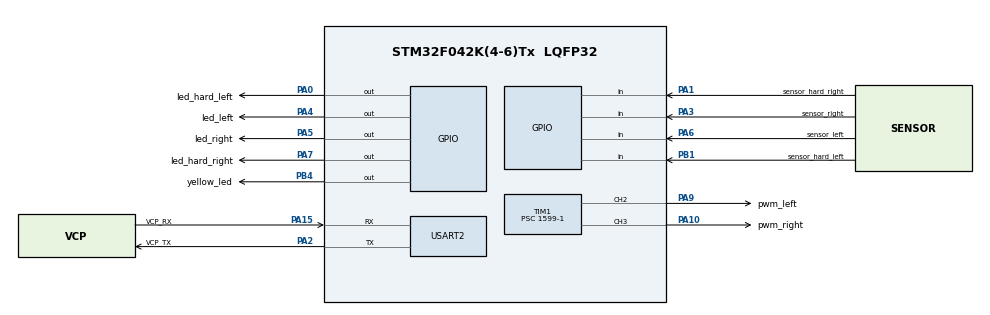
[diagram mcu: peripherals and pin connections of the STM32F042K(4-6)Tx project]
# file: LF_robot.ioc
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Mcu.Family=STM32F0
Mcu.Name=STM32F042K(4-6)Tx
Mcu.Package=LQFP32
PA0.GPIO_Label=led_hard_left
PA0.Signal=GPIO_Output
PA1.GPIO_Label=sensor_hard_right
PA1.GPIO_PuPd=GPIO_PULLUP
PA1.Signal=GPIO_Input
PA10.GPIO_Label=pwm_right
PA10.Signal=S_TIM1_CH3
PA13.GPIO_Label=SWDIO
PA13.Mode=Serial_Wire
PA13.Signal=SYS_SWDIO
PA14.GPIO_Label=SWCLK
PA14.Mode=Serial_Wire
PA14.Signal=SYS_SWCLK
PA15.GPIO_Label=VCP_RX
PA15.Mode=Asynchronous
PA15.Signal=USART2_RX
PA2.GPIO_Label=VCP_TX
PA2.Mode=Asynchronous
PA2.Signal=USART2_TX
PA3.GPIO_Label=sensor_right
PA3.GPIO_PuPd=GPIO_PULLUP
PA3.Signal=GPIO_Input
PA4.GPIO_Label=led_left
PA4.Signal=GPIO_Output
PA5.GPIO_Label=led_right
PA5.Signal=GPIO_Output
PA6.GPIO_Label=sensor_left
PA6.GPIO_PuPd=GPIO_PULLUP
PA6.Signal=GPIO_Input
PA7.GPIO_Label=led_hard_right
PA7.Signal=GPIO_Output
PA9.GPIO_Label=pwm_left
PA9.Signal=S_TIM1_CH2
PB1.GPIO_Label=sensor_hard_left
PB1.GPIO_PuPd=GPIO_PULLUP
PB1.Signal=GPIO_Input
PB4.GPIO_Label=yellow_led
PB4.Signal=GPIO_Output
PF0-OSC_IN.GPIO_Label=MCO
PF0-OSC_IN.Mode=HSE-External-Clock-Source
PF0-OSC_IN.Signal=RCC_OSC_IN
ProjectManager.HeapSize=0x200
ProjectManager.StackSize=0x400
ProjectManager.TargetToolchain=STM32CubeIDE
SH.S_TIM1_CH2.0=TIM1_CH2,PWM Generation2 CH2
SH.S_TIM1_CH3.0=TIM1_CH3,PWM Generation3 CH3
TIM1.AutoReloadPreload=TIM_AUTORELOAD_PRELOAD_ENABLE
TIM1.Channel-PWM\ Generation2\ CH2=TIM_CHANNEL_2
TIM1.Channel-PWM\ Generation3\ CH3=TIM_CHANNEL_3
TIM1.Period=99-1
TIM1.Prescaler=1599-1
USART2.VirtualMode-Asynchronous=VM_ASYNC
board=NUCLEO-F042K6

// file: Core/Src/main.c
/* USER CODE BEGIN Header */
/**
  ******************************************************************************
  * @file           : main.c
  * @brief          : Main program body
  ******************************************************************************
  * @attention
  *
  * Copyright (c) 2025 STMicroelectronics.
  * All rights reserved.
  *
  * This software is licensed under terms that can be found in the LICENSE file
  * in the root directory of this software component.
  * If no LICENSE file comes with this software, it is provided AS-IS.
  *
  ******************************************************************************
  */
/* USER CODE END Header */
#include "main.h"

/* USER CODE BEGIN PD */
# define left_ch TIM_CHANNEL_2
# define right_ch TIM_CHANNEL_3
/* USER CODE END PD */

TIM_HandleTypeDef htim1;

UART_HandleTypeDef huart2;

/* USER CODE BEGIN PV */
typedef enum
{
    straight   = 0,
    right      = 1,
    hard_right = 2,
    left       = 3,
    hard_left  = 4
} MotorState_t;

typedef struct
{
    uint8_t left_base;
    uint8_t right_base;

    uint8_t left_slow;
    uint8_t right_slow;

    uint8_t left_extra_slow;
    uint8_t right_extra_slow;

    uint8_t left_fast;
    uint8_t right_fast;

    uint8_t left_boost;
    uint8_t right_boost;
} MotorPwm_t;

/* USER CODE END PV */

void SystemClock_Config(void);
static void MX_GPIO_Init(void);
static void MX_USART2_UART_Init(void);
static void MX_TIM1_Init(void);

/* USER CODE BEGIN 0 */
static MotorState_t get_direction(void)
{
    /* all LEDs off */
    HAL_GPIO_WritePin(led_left_GPIO_Port,       led_left_Pin,       GPIO_PIN_RESET);
    HAL_GPIO_WritePin(led_right_GPIO_Port,      led_right_Pin,      GPIO_PIN_RESET);
    HAL_GPIO_WritePin(led_hard_left_GPIO_Port,  led_hard_left_Pin,  GPIO_PIN_RESET);
    HAL_GPIO_WritePin(led_hard_right_GPIO_Port, led_hard_right_Pin, GPIO_PIN_RESET);

    if (HAL_GPIO_ReadPin(sensor_right_GPIO_Port, sensor_right_Pin) == GPIO_PIN_SET)
    {
        //HAL_GPIO_WritePin(led_right_GPIO_Port, led_right_Pin, GPIO_PIN_SET);
        return left;
    }
    else if (HAL_GPIO_ReadPin(sensor_hard_right_GPIO_Port, sensor_hard_right_Pin) == GPIO_PIN_SET)
    {
    	//HAL_GPIO_WritePin(led_hard_right_GPIO_Port, led_hard_right_Pin, GPIO_PIN_SET);
        return hard_left;
    }
    else if (HAL_GPIO_ReadPin(sensor_left_GPIO_Port, sensor_left_Pin) == GPIO_PIN_SET)
    {
    	//HAL_GPIO_WritePin(led_left_GPIO_Port, led_left_Pin, GPIO_PIN_SET);
        return right;
    }
    else if (HAL_GPIO_ReadPin(sensor_hard_left_GPIO_Port, sensor_hard_left_Pin) == GPIO_PIN_SET)
    {
    	//HAL_GPIO_WritePin(led_hard_left_GPIO_Port, led_hard_left_Pin, GPIO_PIN_SET);
        return hard_right;
    }
    else
    {
        /* straight: all LEDs stay off */
        return straight;
    }
}

static void apply_motor_pwm(MotorState_t state, const MotorPwm_t *pwm)
{
    switch (state)
    {
        case straight:
            __HAL_TIM_SET_COMPARE(&htim1, left_ch,  pwm->left_base);
            __HAL_TIM_SET_COMPARE(&htim1, right_ch, pwm->right_base);
            break;

        case left:
            __HAL_TIM_SET_COMPARE(&htim1, left_ch,  pwm->left_slow);
            __HAL_TIM_SET_COMPARE(&htim1, right_ch, pwm->right_fast);
            break;

        case right:
            __HAL_TIM_SET_COMPARE(&htim1, left_ch,  pwm->left_fast);
            __HAL_TIM_SET_COMPARE(&htim1, right_ch, pwm->right_slow);
            break;

        case hard_left:
            __HAL_TIM_SET_COMPARE(&htim1, left_ch,  pwm->left_extra_slow);
            __HAL_TIM_SET_COMPARE(&htim1, right_ch, pwm->right_boost);
            break;

        case hard_right:
            __HAL_TIM_SET_COMPARE(&htim1, left_ch,  pwm->left_boost);
            __HAL_TIM_SET_COMPARE(&htim1, right_ch, pwm->right_extra_slow);
            break;

        default:
            break;
    }
}

// 5 volt settings
//MotorPwm_t pwm = {
//	  .left_base = 			55,
//	  .right_base = 		42,
//	  .left_slow = 			45, // -10
//	  .right_slow = 		32, // -10
//	  .left_extra_slow = 	20, // -35
//	  .right_extra_slow = 	7, // -35
//	  .left_fast = 			65, // +10
//	  .right_fast = 		52, // +10
//	  .left_boost = 		90, // base +35
//	  .right_boost = 		77 // base + 35
//};

/* USER CODE END 0 */

int main(void)
{

  /* MCU Configuration--------------------------------------------------------*/

  /* Reset of all peripherals, Initializes the Flash interface and the Systick. */
  HAL_Init();

  /* Configure the system clock */
  SystemClock_Config();

  /* Initialize all configured peripherals */
  MX_GPIO_Init();
  MX_USART2_UART_Init();
  MX_TIM1_Init();
  /* USER CODE BEGIN 2 */
  HAL_TIM_PWM_Start(&htim1, left_ch);
  HAL_TIM_PWM_Start(&htim1, right_ch);

  MotorPwm_t pwm = {
	  .left_base = 			55,
	  .right_base = 		42,
	  .left_slow = 			45, // -10
	  .right_slow = 		32, // -10
	  .left_extra_slow = 	20, // -25
	  .right_extra_slow = 	7, // -25
	  .left_fast = 			65, // +10
	  .right_fast = 		52, // +10
	  .left_boost = 		90, // base +25
	  .right_boost = 		77 // base + 25
  };

  	MotorState_t state = straight;

    const uint32_t control_period_ms = 2U;    /* motor update rate   */
    const uint32_t blink_period_ms   = 100U;  /* PB4 blink period    */

    uint32_t last_control_ms = 0U;
    uint32_t last_blink_ms   = 0U;

  /* USER CODE END 2 */

  /* Infinite loop */
  while (1)
  {

    /* USER CODE BEGIN 3 */
      uint32_t now = HAL_GetTick();

      if ((now - last_control_ms) >= control_period_ms)
      {
          state = get_direction();
          apply_motor_pwm(state, &pwm);
          last_control_ms = now;
      }

      if ((now - last_blink_ms) >= blink_period_ms)
      {
          HAL_GPIO_TogglePin(GPIOB, GPIO_PIN_4);
          last_blink_ms = now;
      }
  }//while(1) end
  /* USER CODE END 3 */
}

void SystemClock_Config(void)
{
  RCC_OscInitTypeDef RCC_OscInitStruct = {0};
  RCC_ClkInitTypeDef RCC_ClkInitStruct = {0};

  /** Initializes the RCC Oscillators according to the specified parameters
  * in the RCC_OscInitTypeDef structure.
  */
  RCC_OscInitStruct.OscillatorType = RCC_OSCILLATORTYPE_HSI;
  RCC_OscInitStruct.HSIState = RCC_HSI_ON;
  RCC_OscInitStruct.HSICalibrationValue = RCC_HSICALIBRATION_DEFAULT;
  RCC_OscInitStruct.PLL.PLLState = RCC_PLL_NONE;
  if (HAL_RCC_OscConfig(&RCC_OscInitStruct) != HAL_OK)
  {
    Error_Handler();
  }

  /** Initializes the CPU, AHB and APB buses clocks
  */
  RCC_ClkInitStruct.ClockType = RCC_CLOCKTYPE_HCLK|RCC_CLOCKTYPE_SYSCLK
                              |RCC_CLOCKTYPE_PCLK1;
  RCC_ClkInitStruct.SYSCLKSource = RCC_SYSCLKSOURCE_HSI;
  RCC_ClkInitStruct.AHBCLKDivider = RCC_SYSCLK_DIV1;
  RCC_ClkInitStruct.APB1CLKDivider = RCC_HCLK_DIV1;

  if (HAL_RCC_ClockConfig(&RCC_ClkInitStruct, FLASH_LATENCY_0) != HAL_OK)
  {
    Error_Handler();
  }
}

static void MX_TIM1_Init(void)
{

  TIM_MasterConfigTypeDef sMasterConfig = {0};
  TIM_OC_InitTypeDef sConfigOC = {0};
  TIM_BreakDeadTimeConfigTypeDef sBreakDeadTimeConfig = {0};

  htim1.Instance = TIM1;
  htim1.Init.Prescaler = 1599-1;
  htim1.Init.CounterMode = TIM_COUNTERMODE_UP;
  htim1.Init.Period = 99-1;
  htim1.Init.ClockDivision = TIM_CLOCKDIVISION_DIV1;
  htim1.Init.RepetitionCounter = 0;
  htim1.Init.AutoReloadPreload = TIM_AUTORELOAD_PRELOAD_ENABLE;
  if (HAL_TIM_PWM_Init(&htim1) != HAL_OK)
  {
    Error_Handler();
  }
  sMasterConfig.MasterOutputTrigger = TIM_TRGO_RESET;
  sMasterConfig.MasterSlaveMode = TIM_MASTERSLAVEMODE_DISABLE;
  if (HAL_TIMEx_MasterConfigSynchronization(&htim1, &sMasterConfig) != HAL_OK)
  {
    Error_Handler();
  }
  sConfigOC.OCMode = TIM_OCMODE_PWM1;
  sConfigOC.Pulse = 0;
  sConfigOC.OCPolarity = TIM_OCPOLARITY_HIGH;
  sConfigOC.OCNPolarity = TIM_OCNPOLARITY_HIGH;
  sConfigOC.OCFastMode = TIM_OCFAST_DISABLE;
  sConfigOC.OCIdleState = TIM_OCIDLESTATE_RESET;
  sConfigOC.OCNIdleState = TIM_OCNIDLESTATE_RESET;
  if (HAL_TIM_PWM_ConfigChannel(&htim1, &sConfigOC, TIM_CHANNEL_2) != HAL_OK)
  {
    Error_Handler();
  }
  if (HAL_TIM_PWM_ConfigChannel(&htim1, &sConfigOC, TIM_CHANNEL_3) != HAL_OK)
  {
    Error_Handler();
  }
  sBreakDeadTimeConfig.OffStateRunMode = TIM_OSSR_DISABLE;
  sBreakDeadTimeConfig.OffStateIDLEMode = TIM_OSSI_DISABLE;
  sBreakDeadTimeConfig.LockLevel = TIM_LOCKLEVEL_OFF;
  sBreakDeadTimeConfig.DeadTime = 0;
  sBreakDeadTimeConfig.BreakState = TIM_BREAK_DISABLE;
  sBreakDeadTimeConfig.BreakPolarity = TIM_BREAKPOLARITY_HIGH;
  sBreakDeadTimeConfig.AutomaticOutput = TIM_AUTOMATICOUTPUT_DISABLE;
  if (HAL_TIMEx_ConfigBreakDeadTime(&htim1, &sBreakDeadTimeConfig) != HAL_OK)
  {
    Error_Handler();
  }
  HAL_TIM_MspPostInit(&htim1);

}

static void MX_USART2_UART_Init(void)
{

  huart2.Instance = USART2;
  huart2.Init.BaudRate = 38400;
  huart2.Init.WordLength = UART_WORDLENGTH_8B;
  huart2.Init.StopBits = UART_STOPBITS_1;
  huart2.Init.Parity = UART_PARITY_NONE;
  huart2.Init.Mode = UART_MODE_TX_RX;
  huart2.Init.HwFlowCtl = UART_HWCONTROL_NONE;
  huart2.Init.OverSampling = UART_OVERSAMPLING_16;
  huart2.Init.OneBitSampling = UART_ONE_BIT_SAMPLE_DISABLE;
  huart2.AdvancedInit.AdvFeatureInit = UART_ADVFEATURE_NO_INIT;
  if (HAL_UART_Init(&huart2) != HAL_OK)
  {
    Error_Handler();
  }

}

static void MX_GPIO_Init(void)
{
  GPIO_InitTypeDef GPIO_InitStruct = {0};

  /* GPIO Ports Clock Enable */
  __HAL_RCC_GPIOF_CLK_ENABLE();
  __HAL_RCC_GPIOA_CLK_ENABLE();
  __HAL_RCC_GPIOB_CLK_ENABLE();

  /*Configure GPIO pin Output Level */
  HAL_GPIO_WritePin(GPIOA, led_hard_left_Pin|led_left_Pin|led_right_Pin|led_hard_right_Pin, GPIO_PIN_RESET);

  /*Configure GPIO pin Output Level */
  HAL_GPIO_WritePin(yellow_led_GPIO_Port, yellow_led_Pin, GPIO_PIN_RESET);

  /*Configure GPIO pins : led_hard_left_Pin led_left_Pin led_right_Pin led_hard_right_Pin */
  GPIO_InitStruct.Pin = led_hard_left_Pin|led_left_Pin|led_right_Pin|led_hard_right_Pin;
  GPIO_InitStruct.Mode = GPIO_MODE_OUTPUT_PP;
  GPIO_InitStruct.Pull = GPIO_NOPULL;
  GPIO_InitStruct.Speed = GPIO_SPEED_FREQ_LOW;
  HAL_GPIO_Init(GPIOA, &GPIO_InitStruct);

  /*Configure GPIO pins : sensor_hard_right_Pin sensor_right_Pin sensor_left_Pin */
  GPIO_InitStruct.Pin = sensor_hard_right_Pin|sensor_right_Pin|sensor_left_Pin;
  GPIO_InitStruct.Mode = GPIO_MODE_INPUT;
  GPIO_InitStruct.Pull = GPIO_PULLUP;
  HAL_GPIO_Init(GPIOA, &GPIO_InitStruct);

  /*Configure GPIO pin : sensor_hard_left_Pin */
  GPIO_InitStruct.Pin = sensor_hard_left_Pin;
  GPIO_InitStruct.Mode = GPIO_MODE_INPUT;
  GPIO_InitStruct.Pull = GPIO_PULLUP;
  HAL_GPIO_Init(sensor_hard_left_GPIO_Port, &GPIO_InitStruct);

  /*Configure GPIO pin : yellow_led_Pin */
  GPIO_InitStruct.Pin = yellow_led_Pin;
  GPIO_InitStruct.Mode = GPIO_MODE_OUTPUT_PP;
  GPIO_InitStruct.Pull = GPIO_NOPULL;
  GPIO_InitStruct.Speed = GPIO_SPEED_FREQ_LOW;
  HAL_GPIO_Init(yellow_led_GPIO_Port, &GPIO_InitStruct);

}

void Error_Handler(void)
{
  __disable_irq();
  while (1)
  {
  }
}
